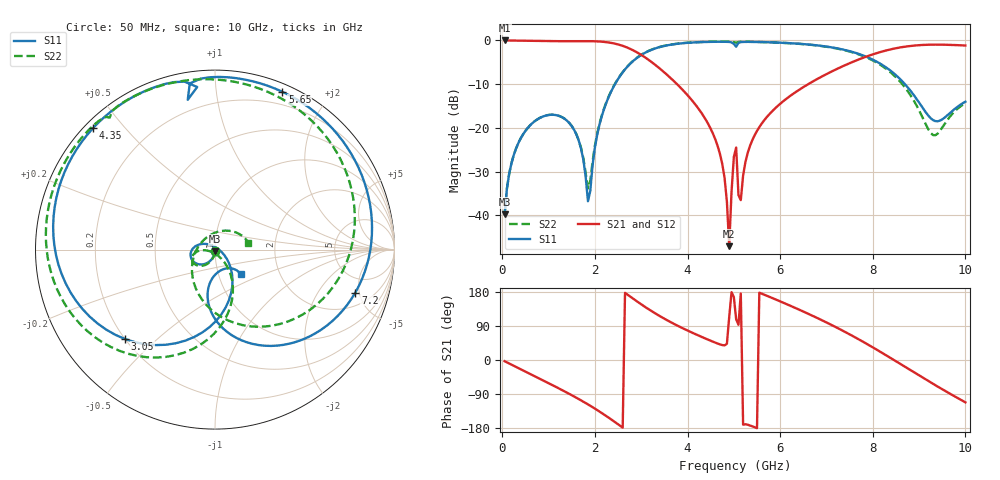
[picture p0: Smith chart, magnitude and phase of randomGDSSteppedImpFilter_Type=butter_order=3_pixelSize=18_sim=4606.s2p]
! freq	dB(S11)	phase(S11)	dB(S12)	phase(S12)
!  dB(S21)	phase(S21)	dB(S22)	phase(S22)
!S-par simulation data
#  GHz  S  DB  R 50
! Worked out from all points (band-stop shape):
!   200 points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, 50 MHz to 10 GHz, reference 50 ohm
!   highest |S21| = -0.01 dB at 50 MHz (marker M1); lowest = -47.1 dB at 4.9 GHz (marker M2)
!   |S21| within 3 dB of the highest: start of sweep to 2.953 GHz; 8.054 GHz to end of sweep
!   lowest |S11| = -39.8 dB at 50 MHz (marker M3), VSWR 1.02, Z = 50 - j1.02 ohm
!   |S11| at or under -10 dB: start of sweep to 2.434 GHz; 8.694 GHz to end of sweep
!   |S22| runs from -39.8 to -0.3 dB; largest |S21 - S12| = 0
!   S11 on the Smith chart (normalised r, x): 50 MHz: 1.00, -0.02; 3.05 GHz: 0.20, -0.40; 4.35 GHz: 0.02, +0.41; 5.65 GHz: 0.07, +1.51; 7.2 GHz: 3.15, -4.56; 10 GHz: 1.27, -0.37
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0.05  -39.81 -92.1  -0.01 -3.1  -0.01 -3.1  -39.85 -92.1
0.25  -26.15 -106.3  -0.04 -15.4  -0.04 -15.4  -26.14 -104.2
0.75  -18.11 -139.5  -0.13 -45.9  -0.13 -45.9  -18.11 -133.1
1.4  -18.39 175.5  -0.17 -86.4  -0.17 -86.4  -18.38 -168.3
1.75  -27.28 138.9  -0.15 -109.9  -0.15 -109.9  -26.97 -173.6
1.85  -36.80 83.9  -0.16 -117.1  -0.16 -117.1  -33.88 -130.8
2.25  -14.15 -60.2  -0.40 -148.2  -0.40 -148.2  -14.06 -61.1
3.05  -3.01 -135.2  -3.65 142.8  -3.65 142.8  -2.98 -122.4
3.4  -1.52 -163.6  -6.42 115.9  -6.42 115.9  -1.48 -147.3
4.35  -0.36 135.2  -17.38 58.6  -17.38 58.6  -0.34 160.1
4.75  -0.30 112.7  -28.28 39.4  -28.28 39.4  -0.27 141.3
4.9  -0.35 103.8  -47.09 113.5  -47.09 113.5  -0.28 134.3
5  -0.81 96.3  -26.68 166.2  -26.68 166.2  -0.39 129.3
5.05  -1.43 100.3  -24.51 107.5  -24.51 107.5  -0.53 128.6
5.15  -0.39 94.8  -36.55 175.3  -36.55 175.3  -0.30 124.1
5.3  -0.33 85.7  -25.71 -170.8  -25.71 -170.8  -0.30 117.0
5.65  -0.39 66.9  -18.35 172.7  -18.35 172.7  -0.38 100.8
6.7  -1.02 10.7  -9.43 116.7  -9.43 116.7  -1.05 47.4
7.2  -1.75 -17.0  -6.66 86.9  -6.66 86.9  -1.80 17.3
8.35  -6.65 -81.4  -2.13 7.9  -2.13 7.9  -7.00 -70.2
9.3  -18.22 -78.6  -0.96 -62.9  -0.96 -62.9  -21.65 140.2
10  -14.03 -44.1  -1.17 -111.7  -1.17 -111.7  -14.40 11.8
